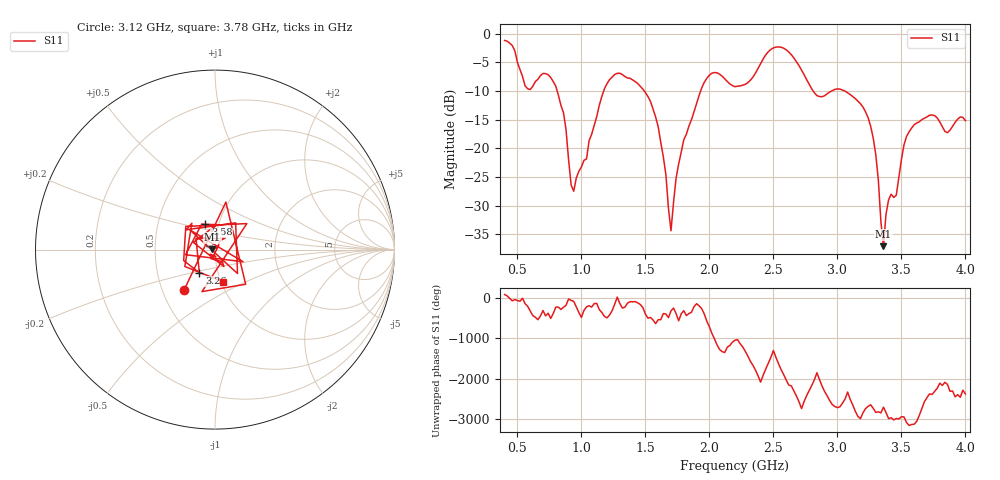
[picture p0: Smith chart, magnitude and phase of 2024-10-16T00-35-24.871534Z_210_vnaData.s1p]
! Created with skrf (http://scikit-rf.org).
# Hz S RI R 50.0
!freq ReS11 ImS11
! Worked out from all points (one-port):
!   181 points, 400 MHz to 4 GHz, reference 50 ohm
!   lowest |S11| = -37.1 dB at 3.36 GHz (marker M1), VSWR 1.03, Z = 48.6 + j0.0619 ohm
!   |S11| at or under -10 dB: 810.8 MHz to 1.174 GHz (363.2 MHz wide, 36.6 % of centre); 1.491 GHz to 1.931 GHz (440.2 MHz wide, 25.7 % of centre); 3.058 GHz to end of sweep (the widest 3 of 4)
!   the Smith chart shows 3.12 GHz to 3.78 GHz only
!   S11 on the Smith chart (normalised r, x): 3.12 GHz: 0.65, -0.32; 3.26 GHz: 0.81, -0.21; 3.58 GHz: 0.87, +0.25; 3.78 GHz: 1.02, -0.38
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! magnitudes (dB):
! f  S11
! 400 MHz  -1.2
! 560 MHz  -9.1
! 740 MHz  -7.2
! 860 MHz  -13.8
! 940 MHz  -27.5
! 1.18 GHz  -9.6
! 1.3 GHz  -6.9
! 1.58 GHz  -14.5
! 1.66 GHz  -24.6
! 1.7 GHz  -34.4
! 1.76 GHz  -22.7
! 1.98 GHz  -7.8
! 2.2 GHz  -9.2
! 2.5 GHz  -2.5
! 2.66 GHz  -4.2
! 2.84 GHz  -10.8
! 3.1 GHz  -10.6
! 3.12 GHz  -11.0
! 3.26 GHz  -16.2
! 3.3 GHz  -21.1
! 3.36 GHz  -37.1
! 3.4 GHz  -29.0
! 3.46 GHz  -28.2
! 3.56 GHz  -17.1
! 3.58 GHz  -16.5
! 3.78 GHz  -14.7
! 3.86 GHz  -17.3
! 4 GHz  -15.2
